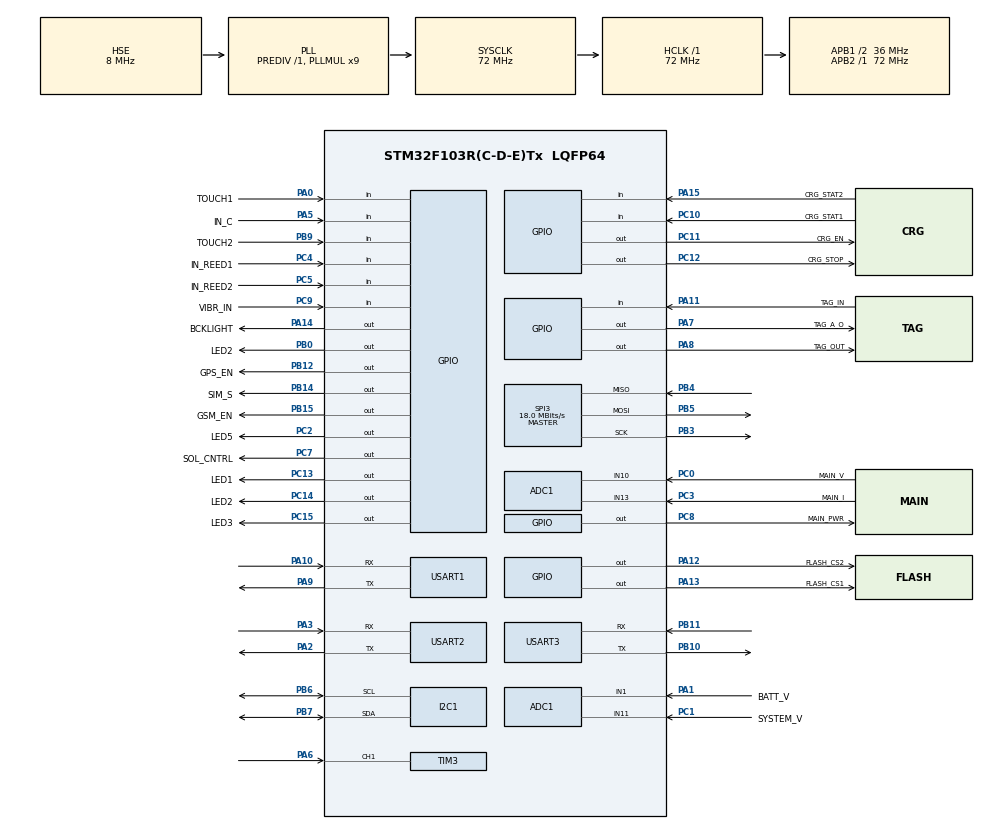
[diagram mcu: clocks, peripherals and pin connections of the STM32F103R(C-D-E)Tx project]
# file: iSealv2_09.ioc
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ADC1.Channel-12\#ChannelRegularConversion=ADC_CHANNEL_13
ADC1.Channel-13\#ChannelRegularConversion=ADC_CHANNEL_1
ADC1.Channel-14\#ChannelRegularConversion=ADC_CHANNEL_10
ADC1.Channel-15\#ChannelRegularConversion=ADC_CHANNEL_11
ADC1.ContinuousConvMode=DISABLE
ADC1.NbrOfConversion=4
ADC1.NbrOfConversionFlag=1
ADC1.Rank-12\#ChannelRegularConversion=1
ADC1.Rank-13\#ChannelRegularConversion=2
ADC1.Rank-14\#ChannelRegularConversion=3
ADC1.Rank-15\#ChannelRegularConversion=4
ADC1.SamplingTime-12\#ChannelRegularConversion=ADC_SAMPLETIME_1CYCLE_5
ADC1.SamplingTime-13\#ChannelRegularConversion=ADC_SAMPLETIME_1CYCLE_5
ADC1.SamplingTime-14\#ChannelRegularConversion=ADC_SAMPLETIME_1CYCLE_5
ADC1.SamplingTime-15\#ChannelRegularConversion=ADC_SAMPLETIME_1CYCLE_5
ADC1.master=1
Dma.ADC1.0.Direction=DMA_PERIPH_TO_MEMORY
Dma.ADC1.0.Instance=DMA1_Channel1
Dma.ADC1.0.MemDataAlignment=DMA_MDATAALIGN_WORD
Dma.ADC1.0.MemInc=DMA_MINC_ENABLE
Dma.ADC1.0.Mode=DMA_NORMAL
Dma.ADC1.0.PeriphDataAlignment=DMA_PDATAALIGN_WORD
Dma.ADC1.0.PeriphInc=DMA_PINC_DISABLE
Dma.ADC1.0.Priority=DMA_PRIORITY_LOW
Dma.Request0=ADC1
FREERTOS.Tasks01=defaultTask,0,128,StartDefaultTask,Default,NULL,Dynamic,NULL,NULL
FREERTOS.Timers01=myTimer01,Callback01,osTimerPeriodic,Default,NULL,Dynamic,NULL
FREERTOS.configTICK_RATE_HZ=1000
FREERTOS.configUSE_TIMERS=1
Mcu.Family=STM32F1
Mcu.Name=STM32F103R(C-D-E)Tx
Mcu.Package=LQFP64
NVIC.DMA1_Channel1_IRQn=true\:5\:0\:false\:false\:true\:true\:false\:true
NVIC.PriorityGroup=NVIC_PRIORITYGROUP_4
NVIC.TIM1_CC_IRQn=true\:5\:0\:false\:false\:true\:true\:true\:true
NVIC.TIM1_UP_IRQn=true\:5\:0\:false\:false\:true\:true\:true\:true
NVIC.TIM2_IRQn=true\:0\:0\:false\:false\:true\:false\:false\:true
NVIC.TIM3_IRQn=true\:5\:0\:false\:false\:true\:true\:true\:true
NVIC.TimeBase=TIM2_IRQn
NVIC.TimeBaseIP=TIM2
NVIC.USART1_IRQn=true\:5\:0\:false\:false\:true\:true\:true\:true
NVIC.USART2_IRQn=true\:5\:0\:false\:false\:true\:true\:true\:true
NVIC.USART3_IRQn=true\:5\:0\:false\:false\:true\:true\:true\:true
PA0-WKUP.GPIO_Label=TOUCH1
PA0-WKUP.Signal=GPIO_Input
PA1.GPIO_Label=BATT_V
PA1.Signal=ADCx_IN1
PA10.GPIO_PuPd=GPIO_PULLUP
PA10.Mode=Asynchronous
PA10.Signal=USART1_RX
PA11.GPIO_Label=TAG_IN
PA11.Signal=GPIO_Input
PA12.GPIO_Label=FLASH_CS2
PA12.Signal=GPIO_Output
PA13.GPIO_Label=FLASH_CS1
PA13.Signal=GPIO_Output
PA14.GPIO_Label=BCKLIGHT
PA14.Signal=GPIO_Output
PA15.GPIO_Label=CRG_STAT2
PA15.Signal=GPIO_Input
PA2.Mode=Asynchronous
PA2.Signal=USART2_TX
PA3.Mode=Asynchronous
PA3.Signal=USART2_RX
PA5.GPIO_Label=IN_C
PA5.Signal=GPIO_Input
PA6.Signal=S_TIM3_CH1
PA7.GPIO_Label=TAG_A_O
PA7.Signal=GPIO_Output
PA8.GPIO_Label=TAG_OUT
PA8.Signal=GPIO_Output
PA9.Mode=Asynchronous
PA9.Signal=USART1_TX
PB0.GPIO_Label=LED2
PB0.Signal=GPIO_Output
PB10.Mode=Asynchronous
PB10.Signal=USART3_TX
PB11.Mode=Asynchronous
PB11.Signal=USART3_RX
PB12.GPIO_Label=GPS_EN
PB12.Signal=GPIO_Output
PB14.GPIO_Label=SIM_S
PB14.Signal=GPIO_Output
PB15.GPIO_Label=GSM_EN
PB15.Signal=GPIO_Output
PB3.Mode=Full_Duplex_Master
PB3.Signal=SPI3_SCK
PB4.Mode=Full_Duplex_Master
PB4.Signal=SPI3_MISO
PB5.Mode=Full_Duplex_Master
PB5.Signal=SPI3_MOSI
PB6.GPIO_Pu=GPIO_PULLUP
PB6.Mode=I2C
PB6.Signal=I2C1_SCL
PB7.GPIO_Pu=GPIO_PULLUP
PB7.Mode=I2C
PB7.Signal=I2C1_SDA
PB9.GPIO_Label=TOUCH2
PB9.Signal=GPIO_Input
PC0.GPIO_Label=MAIN_V
PC0.Signal=ADCx_IN10
PC1.GPIO_Label=SYSTEM_V
PC1.Signal=ADCx_IN11
PC10.GPIO_Label=CRG_STAT1
PC10.Signal=GPIO_Input
PC11.GPIO_Label=CRG_EN
PC11.Signal=GPIO_Output
PC12.GPIO_Label=CRG_STOP
PC12.Signal=GPIO_Output
PC13-TAMPER-RTC.GPIO_Label=LED1
PC13-TAMPER-RTC.Signal=GPIO_Output
PC14-OSC32_IN.GPIO_Label=LED2
PC14-OSC32_IN.Signal=GPIO_Output
PC15-OSC32_OUT.GPIO_Label=LED3
PC15-OSC32_OUT.Signal=GPIO_Output
PC2.GPIO_Label=LED5
PC2.Signal=GPIO_Output
PC3.GPIO_Label=MAIN_I
PC3.Signal=ADCx_IN13
PC4.GPIO_Label=IN_REED1
PC4.Signal=GPIO_Input
PC5.GPIO_Label=IN_REED2
PC5.Signal=GPIO_Input
PC7.GPIO_Label=SOL_CNTRL
PC7.Signal=GPIO_Output
PC8.GPIO_Label=MAIN_PWR
PC8.Signal=GPIO_Output
PC9.GPIO_Label=VIBR_IN
PC9.Signal=GPIO_Input
PD0-OSC_IN.Mode=HSE-External-Oscillator
PD0-OSC_IN.Signal=RCC_OSC_IN
PD1-OSC_OUT.Mode=HSE-External-Oscillator
PD1-OSC_OUT.Signal=RCC_OSC_OUT
ProjectManager.HeapSize=0x200
ProjectManager.StackSize=0x400
ProjectManager.TargetToolchain=STM32CubeIDE
RCC.ADCPresc=RCC_ADCPCLK2_DIV6
RCC.AHBFreq_Value=72000000
RCC.APB1CLKDivider=RCC_HCLK_DIV2
RCC.APB1Freq_Value=36000000
RCC.APB1TimFreq_Value=72000000
RCC.APB2Freq_Value=72000000
RCC.APB2TimFreq_Value=72000000
RCC.HCLKFreq_Value=72000000
RCC.PLLMUL=RCC_PLL_MUL9
RCC.PLLSourceVirtual=RCC_PLLSOURCE_HSE
RCC.SYSCLKFreq_VALUE=72000000
RCC.SYSCLKSource=RCC_SYSCLKSOURCE_PLLCLK
RCC.USBFreq_Value=72000000
SH.ADCx_IN1.0=ADC1_IN1,IN1
SH.ADCx_IN10.0=ADC1_IN10,IN10
SH.ADCx_IN11.0=ADC1_IN11,IN11
SH.ADCx_IN13.0=ADC1_IN13,IN13
SH.S_TIM3_CH1.0=TIM3_CH1,Input_Capture1_from_TI1
SPI3.BaudRatePrescaler=SPI_BAUDRATEPRESCALER_2
SPI3.CalculateBaudRate=18.0 MBits/s
SPI3.Direction=SPI_DIRECTION_2LINES
SPI3.Mode=SPI_MODE_MASTER
SPI3.VirtualType=VM_MASTER
TIM1.AutoReloadPreload=TIM_AUTORELOAD_PRELOAD_ENABLE
TIM1.Period=200
TIM1.TIM_MasterOutputTrigger=TIM_TRGO_ENABLE
TIM3.Channel-Input_Capture1_from_TI1=TIM_CHANNEL_1
TIM3.ICFilter_CH1=0
TIM3.ICPrescaler-Input_Capture1_from_TI1=TIM_ICPSC_DIV1
TIM3.Period=65535
USART1.VirtualMode=VM_ASYNC
USART2.VirtualMode=VM_ASYNC
USART3.VirtualMode=VM_ASYNC
VP_FREERTOS_VS_CMSIS_V1.Mode=CMSIS_V1
VP_SYS_VS_ND.Mode=No_Debug
VP_SYS_VS_tim2.Mode=TIM2
VP_TIM1_VS_ClockSourceINT.Mode=Internal
VP_TIM3_VS_ClockSourceINT.Mode=Internal
board=custom

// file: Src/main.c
/* USER CODE BEGIN Header */
/**
  ******************************************************************************
  * @file           : main.c
  * @brief          : Main program body
  ******************************************************************************
  * @attention
  *
  * <h2><center>&copy; Copyright (c) 2022 STMicroelectronics.
  * All rights reserved.</center></h2>
  *
  * This software component is licensed by ST under Ultimate Liberty license
  * SLA0044, the "License"; You may not use this file except in compliance with
  * the License. You may obtain a copy of the License at:
  *                             www.st.com/SLA0044
  *
  ******************************************************************************
  */
/* USER CODE END Header */
#include "main.h"
#include "cmsis_os.h"

/* USER CODE BEGIN Includes */
#include "UART.h"
#include "LCD.h"
#include "myString.h"
#include "Wifi.h"
/* USER CODE END Includes */

ADC_HandleTypeDef hadc1;
DMA_HandleTypeDef hdma_adc1;

I2C_HandleTypeDef hi2c1;

SPI_HandleTypeDef hspi3;

TIM_HandleTypeDef htim1;
TIM_HandleTypeDef htim3;

UART_HandleTypeDef huart1;
UART_HandleTypeDef huart2;
UART_HandleTypeDef huart3;

osThreadId defaultTaskHandle;
osTimerId myTimer01Handle;
/* USER CODE BEGIN PV */
/* Private variables ---------------------------------------------------------*/
uint16_t timer;
uint16_t timerMult;
uint8_t timerStr[20];
uint8_t touch1;
uint16_t rTimer;

#define IDLE   0
#define DONE   1
#define F_CLK  72000000UL

volatile uint8_t gu8_State = IDLE;
volatile uint8_t gu8_MSG[35] = {'\0'};
volatile uint32_t gu32_T1 = 0;
volatile uint32_t gu32_T2 = 0;
volatile uint32_t gu32_Ticks = 0;
volatile uint16_t gu16_TIM2_OVC = 0;
volatile uint32_t gu32_Freq = 0;

/* USER CODE END PV */

void SystemClock_Config(void);
static void MX_GPIO_Init(void);
static void MX_DMA_Init(void);
static void MX_USART1_UART_Init(void);
static void MX_USART2_UART_Init(void);
static void MX_USART3_UART_Init(void);
static void MX_ADC1_Init(void);
static void MX_I2C1_Init(void);
static void MX_SPI3_Init(void);
static void MX_TIM1_Init(void);
static void MX_TIM3_Init(void);
void StartDefaultTask(void const * argument);
void Callback01(void const * argument);

/* USER CODE BEGIN PFP */
/* Private function prototypes -----------------------------------------------*/

/* USER CODE END PFP */

/* USER CODE BEGIN 0 */
void HAL_TIM_IC_CaptureCallback(TIM_HandleTypeDef* htim)
{

	if(gu8_State == IDLE)
	{

		gu32_T1 = TIM3->CCR1;
		gu16_TIM2_OVC = 0;
		gu8_State = DONE;
	}
	else if(gu8_State == DONE)
	{
		gu32_T2 = TIM3->CCR1;
		gu32_Ticks = (gu32_T2 + (gu16_TIM2_OVC * 65536)) - gu32_T1;
		gu32_Freq = (uint32_t)(F_CLK/gu32_Ticks);

		if(gu32_Freq != 0)
		{
			HAL_GPIO_TogglePin(LED1_GPIO_Port, LED1_Pin);
			sprintf(gu8_MSG, "Freq = %lu Hz\n\r", gu32_Freq);
		  //HAL_UART_Transmit(&huart1, gu8_MSG, sizeof(gu8_MSG), 100);
		  //LineSelect(0xC0);
		  //LCD_Print((char*)gu8_MSG);
		}
		gu8_State = IDLE;
	}
}
/*void HAL_TIM_PeriodElapsedCallback(TIM_HandleTypeDef* htim)
{
	gu16_TIM2_OVC++;
}*/

/* USER CODE END 0 */

int main(void)
{

  /* MCU Configuration--------------------------------------------------------*/

  /* Reset of all peripherals, Initializes the Flash interface and the Systick. */
  HAL_Init();

  /* Configure the system clock */
  SystemClock_Config();

  /* Initialize all configured peripherals */
  MX_GPIO_Init();
  MX_DMA_Init();
  MX_USART1_UART_Init();
  MX_USART2_UART_Init();
  MX_USART3_UART_Init();
  MX_ADC1_Init();
  MX_I2C1_Init();
  MX_SPI3_Init();
  MX_TIM1_Init();
  MX_TIM3_Init();
  /* USER CODE BEGIN 2 */
  //GSM_Init();

  LCD_Init();
  HAL_GPIO_WritePin(MAIN_PWR_GPIO_Port, MAIN_PWR_Pin, GPIO_PIN_SET);
  //HAL_GPIO_WritePin(GPS_EN_GPIO_Port, GPS_EN_Pin, GPIO_PIN_SET);
  HAL_GPIO_WritePin(SOL_CNTRL_GPIO_Port, SOL_CNTRL_Pin, GPIO_PIN_SET);
  LCD_Init();
  HAL_TIM_Base_MspInit(&htim1);
  HAL_TIM_Base_Start_IT(&htim1);
  HAL_TIM_Base_Start_IT(&htim3);
  //HAL_TIM_IC_Init(&htim3);
  HAL_TIM_IC_Start_IT (&htim3, TIM_CHANNEL_1);
  HAL_GPIO_TogglePin(LED5_GPIO_Port, LED5_Pin);
  Wifi_Init();
  /* USER CODE END 2 */

  /* Create the timer(s) */
  /* definition and creation of myTimer01 */
  osTimerDef(myTimer01, Callback01);
  myTimer01Handle = osTimerCreate(osTimer(myTimer01), osTimerPeriodic, NULL);

  /* Create the thread(s) */
  /* definition and creation of defaultTask */
  osThreadDef(defaultTask, StartDefaultTask, osPriorityNormal, 0, 128);
  defaultTaskHandle = osThreadCreate(osThread(defaultTask), NULL);

  /* Start scheduler */
  osKernelStart();

  /* We should never get here as control is now taken by the scheduler */
  /* Infinite loop */
  while (1)
  {

    /* USER CODE BEGIN 3 */
	  /*if (timer >= 30){
		  timer = 0;
		  HAL_GPIO_TogglePin(LED1_GPIO_Port, LED1_Pin);
	  }*/

  }
  /* USER CODE END 3 */
}

void SystemClock_Config(void)
{
  RCC_OscInitTypeDef RCC_OscInitStruct = {0};
  RCC_ClkInitTypeDef RCC_ClkInitStruct = {0};
  RCC_PeriphCLKInitTypeDef PeriphClkInit = {0};

  /** Initializes the RCC Oscillators according to the specified parameters
  * in the RCC_OscInitTypeDef structure.
  */
  RCC_OscInitStruct.OscillatorType = RCC_OSCILLATORTYPE_HSE;
  RCC_OscInitStruct.HSEState = RCC_HSE_ON;
  RCC_OscInitStruct.HSEPredivValue = RCC_HSE_PREDIV_DIV1;
  RCC_OscInitStruct.HSIState = RCC_HSI_ON;
  RCC_OscInitStruct.PLL.PLLState = RCC_PLL_ON;
  RCC_OscInitStruct.PLL.PLLSource = RCC_PLLSOURCE_HSE;
  RCC_OscInitStruct.PLL.PLLMUL = RCC_PLL_MUL9;
  if (HAL_RCC_OscConfig(&RCC_OscInitStruct) != HAL_OK)
  {
    Error_Handler();
  }
  /** Initializes the CPU, AHB and APB buses clocks
  */
  RCC_ClkInitStruct.ClockType = RCC_CLOCKTYPE_HCLK|RCC_CLOCKTYPE_SYSCLK
                              |RCC_CLOCKTYPE_PCLK1|RCC_CLOCKTYPE_PCLK2;
  RCC_ClkInitStruct.SYSCLKSource = RCC_SYSCLKSOURCE_PLLCLK;
  RCC_ClkInitStruct.AHBCLKDivider = RCC_SYSCLK_DIV1;
  RCC_ClkInitStruct.APB1CLKDivider = RCC_HCLK_DIV2;
  RCC_ClkInitStruct.APB2CLKDivider = RCC_HCLK_DIV1;

  if (HAL_RCC_ClockConfig(&RCC_ClkInitStruct, FLASH_LATENCY_2) != HAL_OK)
  {
    Error_Handler();
  }
  PeriphClkInit.PeriphClockSelection = RCC_PERIPHCLK_ADC;
  PeriphClkInit.AdcClockSelection = RCC_ADCPCLK2_DIV6;
  if (HAL_RCCEx_PeriphCLKConfig(&PeriphClkInit) != HAL_OK)
  {
    Error_Handler();
  }
}

static void MX_ADC1_Init(void)
{

  ADC_ChannelConfTypeDef sConfig = {0};

  /** Common config
  */
  hadc1.Instance = ADC1;
  hadc1.Init.ScanConvMode = ADC_SCAN_ENABLE;
  hadc1.Init.ContinuousConvMode = DISABLE;
  hadc1.Init.DiscontinuousConvMode = DISABLE;
  hadc1.Init.ExternalTrigConv = ADC_SOFTWARE_START;
  hadc1.Init.DataAlign = ADC_DATAALIGN_RIGHT;
  hadc1.Init.NbrOfConversion = 4;
  if (HAL_ADC_Init(&hadc1) != HAL_OK)
  {
    Error_Handler();
  }
  /** Configure Regular Channel
  */
  sConfig.Channel = ADC_CHANNEL_13;
  sConfig.Rank = ADC_REGULAR_RANK_1;
  sConfig.SamplingTime = ADC_SAMPLETIME_1CYCLE_5;
  if (HAL_ADC_ConfigChannel(&hadc1, &sConfig) != HAL_OK)
  {
    Error_Handler();
  }
  /** Configure Regular Channel
  */
  sConfig.Channel = ADC_CHANNEL_1;
  sConfig.Rank = ADC_REGULAR_RANK_2;
  if (HAL_ADC_ConfigChannel(&hadc1, &sConfig) != HAL_OK)
  {
    Error_Handler();
  }
  /** Configure Regular Channel
  */
  sConfig.Channel = ADC_CHANNEL_10;
  sConfig.Rank = ADC_REGULAR_RANK_3;
  if (HAL_ADC_ConfigChannel(&hadc1, &sConfig) != HAL_OK)
  {
    Error_Handler();
  }
  /** Configure Regular Channel
  */
  sConfig.Channel = ADC_CHANNEL_11;
  sConfig.Rank = ADC_REGULAR_RANK_4;
  if (HAL_ADC_ConfigChannel(&hadc1, &sConfig) != HAL_OK)
  {
    Error_Handler();
  }

}

static void MX_I2C1_Init(void)
{

  hi2c1.Instance = I2C1;
  hi2c1.Init.ClockSpeed = 100000;
  hi2c1.Init.DutyCycle = I2C_DUTYCYCLE_2;
  hi2c1.Init.OwnAddress1 = 0;
  hi2c1.Init.AddressingMode = I2C_ADDRESSINGMODE_7BIT;
  hi2c1.Init.DualAddressMode = I2C_DUALADDRESS_DISABLE;
  hi2c1.Init.OwnAddress2 = 0;
  hi2c1.Init.GeneralCallMode = I2C_GENERALCALL_DISABLE;
  hi2c1.Init.NoStretchMode = I2C_NOSTRETCH_DISABLE;
  if (HAL_I2C_Init(&hi2c1) != HAL_OK)
  {
    Error_Handler();
  }

}

static void MX_SPI3_Init(void)
{

  /* SPI3 parameter configuration*/
  hspi3.Instance = SPI3;
  hspi3.Init.Mode = SPI_MODE_MASTER;
  hspi3.Init.Direction = SPI_DIRECTION_2LINES;
  hspi3.Init.DataSize = SPI_DATASIZE_8BIT;
  hspi3.Init.CLKPolarity = SPI_POLARITY_LOW;
  hspi3.Init.CLKPhase = SPI_PHASE_1EDGE;
  hspi3.Init.NSS = SPI_NSS_SOFT;
  hspi3.Init.BaudRatePrescaler = SPI_BAUDRATEPRESCALER_2;
  hspi3.Init.FirstBit = SPI_FIRSTBIT_MSB;
  hspi3.Init.TIMode = SPI_TIMODE_DISABLE;
  hspi3.Init.CRCCalculation = SPI_CRCCALCULATION_DISABLE;
  hspi3.Init.CRCPolynomial = 10;
  if (HAL_SPI_Init(&hspi3) != HAL_OK)
  {
    Error_Handler();
  }

}

static void MX_TIM1_Init(void)
{

  TIM_ClockConfigTypeDef sClockSourceConfig = {0};
  TIM_MasterConfigTypeDef sMasterConfig = {0};

  htim1.Instance = TIM1;
  htim1.Init.Prescaler = 0;
  htim1.Init.CounterMode = TIM_COUNTERMODE_UP;
  htim1.Init.Period = 200;
  htim1.Init.ClockDivision = TIM_CLOCKDIVISION_DIV1;
  htim1.Init.RepetitionCounter = 0;
  htim1.Init.AutoReloadPreload = TIM_AUTORELOAD_PRELOAD_ENABLE;
  if (HAL_TIM_Base_Init(&htim1) != HAL_OK)
  {
    Error_Handler();
  }
  sClockSourceConfig.ClockSource = TIM_CLOCKSOURCE_INTERNAL;
  if (HAL_TIM_ConfigClockSource(&htim1, &sClockSourceConfig) != HAL_OK)
  {
    Error_Handler();
  }
  sMasterConfig.MasterOutputTrigger = TIM_TRGO_ENABLE;
  sMasterConfig.MasterSlaveMode = TIM_MASTERSLAVEMODE_DISABLE;
  if (HAL_TIMEx_MasterConfigSynchronization(&htim1, &sMasterConfig) != HAL_OK)
  {
    Error_Handler();
  }

}

static void MX_TIM3_Init(void)
{

  TIM_ClockConfigTypeDef sClockSourceConfig = {0};
  TIM_MasterConfigTypeDef sMasterConfig = {0};
  TIM_IC_InitTypeDef sConfigIC = {0};

  htim3.Instance = TIM3;
  htim3.Init.Prescaler = 0;
  htim3.Init.CounterMode = TIM_COUNTERMODE_UP;
  htim3.Init.Period = 65535;
  htim3.Init.ClockDivision = TIM_CLOCKDIVISION_DIV1;
  htim3.Init.AutoReloadPreload = TIM_AUTORELOAD_PRELOAD_DISABLE;
  if (HAL_TIM_Base_Init(&htim3) != HAL_OK)
  {
    Error_Handler();
  }
  sClockSourceConfig.ClockSource = TIM_CLOCKSOURCE_INTERNAL;
  if (HAL_TIM_ConfigClockSource(&htim3, &sClockSourceConfig) != HAL_OK)
  {
    Error_Handler();
  }
  if (HAL_TIM_IC_Init(&htim3) != HAL_OK)
  {
    Error_Handler();
  }
  sMasterConfig.MasterOutputTrigger = TIM_TRGO_RESET;
  sMasterConfig.MasterSlaveMode = TIM_MASTERSLAVEMODE_DISABLE;
  if (HAL_TIMEx_MasterConfigSynchronization(&htim3, &sMasterConfig) != HAL_OK)
  {
    Error_Handler();
  }
  sConfigIC.ICPolarity = TIM_INPUTCHANNELPOLARITY_RISING;
  sConfigIC.ICSelection = TIM_ICSELECTION_DIRECTTI;
  sConfigIC.ICPrescaler = TIM_ICPSC_DIV1;
  sConfigIC.ICFilter = 0;
  if (HAL_TIM_IC_ConfigChannel(&htim3, &sConfigIC, TIM_CHANNEL_1) != HAL_OK)
  {
    Error_Handler();
  }

}

static void MX_USART1_UART_Init(void)
{

  huart1.Instance = USART1;
  huart1.Init.BaudRate = 115200;
  huart1.Init.WordLength = UART_WORDLENGTH_8B;
  huart1.Init.StopBits = UART_STOPBITS_1;
  huart1.Init.Parity = UART_PARITY_NONE;
  huart1.Init.Mode = UART_MODE_TX_RX;
  huart1.Init.HwFlowCtl = UART_HWCONTROL_NONE;
  huart1.Init.OverSampling = UART_OVERSAMPLING_16;
  if (HAL_UART_Init(&huart1) != HAL_OK)
  {
    Error_Handler();
  }

}

static void MX_USART2_UART_Init(void)
{

  huart2.Instance = USART2;
  huart2.Init.BaudRate = 115200;
  huart2.Init.WordLength = UART_WORDLENGTH_8B;
  huart2.Init.StopBits = UART_STOPBITS_1;
  huart2.Init.Parity = UART_PARITY_NONE;
  huart2.Init.Mode = UART_MODE_TX_RX;
  huart2.Init.HwFlowCtl = UART_HWCONTROL_NONE;
  huart2.Init.OverSampling = UART_OVERSAMPLING_16;
  if (HAL_UART_Init(&huart2) != HAL_OK)
  {
    Error_Handler();
  }

}

static void MX_USART3_UART_Init(void)
{

  huart3.Instance = USART3;
  huart3.Init.BaudRate = 115200;
  huart3.Init.WordLength = UART_WORDLENGTH_8B;
  huart3.Init.StopBits = UART_STOPBITS_1;
  huart3.Init.Parity = UART_PARITY_NONE;
  huart3.Init.Mode = UART_MODE_TX_RX;
  huart3.Init.HwFlowCtl = UART_HWCONTROL_NONE;
  huart3.Init.OverSampling = UART_OVERSAMPLING_16;
  if (HAL_UART_Init(&huart3) != HAL_OK)
  {
    Error_Handler();
  }

}

static void MX_DMA_Init(void)
{

  /* DMA controller clock enable */
  __HAL_RCC_DMA1_CLK_ENABLE();

  /* DMA interrupt init */
  /* DMA1_Channel1_IRQn interrupt configuration */
  HAL_NVIC_SetPriority(DMA1_Channel1_IRQn, 5, 0);
  HAL_NVIC_EnableIRQ(DMA1_Channel1_IRQn);

}

static void MX_GPIO_Init(void)
{
  GPIO_InitTypeDef GPIO_InitStruct = {0};

  /* GPIO Ports Clock Enable */
  __HAL_RCC_GPIOC_CLK_ENABLE();
  __HAL_RCC_GPIOD_CLK_ENABLE();
  __HAL_RCC_GPIOA_CLK_ENABLE();
  __HAL_RCC_GPIOB_CLK_ENABLE();

  /*Configure GPIO pin Output Level */
  HAL_GPIO_WritePin(GPIOC, LED1_Pin|LED2_Pin|LED3_Pin|LED5_Pin
                          |SOL_CNTRL_Pin|MAIN_PWR_Pin|CRG_EN_Pin|CRG_STOP_Pin, GPIO_PIN_RESET);

  /*Configure GPIO pin Output Level */
  HAL_GPIO_WritePin(GPIOA, TAG_A_O_Pin|TAG_OUT_Pin|FLASH_CS2_Pin|FLASH_CS1_Pin
                          |BCKLIGHT_Pin, GPIO_PIN_RESET);

  /*Configure GPIO pin Output Level */
  HAL_GPIO_WritePin(GPIOB, LED2B0_Pin|GPS_EN_Pin|SIM_S_Pin|GSM_EN_Pin, GPIO_PIN_RESET);

  /*Configure GPIO pins : LED1_Pin LED2_Pin LED3_Pin LED5_Pin
                           SOL_CNTRL_Pin MAIN_PWR_Pin CRG_EN_Pin CRG_STOP_Pin */
  GPIO_InitStruct.Pin = LED1_Pin|LED2_Pin|LED3_Pin|LED5_Pin
                          |SOL_CNTRL_Pin|MAIN_PWR_Pin|CRG_EN_Pin|CRG_STOP_Pin;
  GPIO_InitStruct.Mode = GPIO_MODE_OUTPUT_PP;
  GPIO_InitStruct.Pull = GPIO_NOPULL;
  GPIO_InitStruct.Speed = GPIO_SPEED_FREQ_LOW;
  HAL_GPIO_Init(GPIOC, &GPIO_InitStruct);

  /*Configure GPIO pins : TOUCH1_Pin IN_C_Pin TAG_IN_Pin CRG_STAT2_Pin */
  GPIO_InitStruct.Pin = TOUCH1_Pin|IN_C_Pin|TAG_IN_Pin|CRG_STAT2_Pin;
  GPIO_InitStruct.Mode = GPIO_MODE_INPUT;
  GPIO_InitStruct.Pull = GPIO_NOPULL;
  HAL_GPIO_Init(GPIOA, &GPIO_InitStruct);

  /*Configure GPIO pins : TAG_A_O_Pin TAG_OUT_Pin FLASH_CS2_Pin FLASH_CS1_Pin
                           BCKLIGHT_Pin */
  GPIO_InitStruct.Pin = TAG_A_O_Pin|TAG_OUT_Pin|FLASH_CS2_Pin|FLASH_CS1_Pin
                          |BCKLIGHT_Pin;
  GPIO_InitStruct.Mode = GPIO_MODE_OUTPUT_PP;
  GPIO_InitStruct.Pull = GPIO_NOPULL;
  GPIO_InitStruct.Speed = GPIO_SPEED_FREQ_LOW;
  HAL_GPIO_Init(GPIOA, &GPIO_InitStruct);

  /*Configure GPIO pins : IN_REED1_Pin IN_REED2_Pin VIBR_IN_Pin CRG_STAT1_Pin */
  GPIO_InitStruct.Pin = IN_REED1_Pin|IN_REED2_Pin|VIBR_IN_Pin|CRG_STAT1_Pin;
  GPIO_InitStruct.Mode = GPIO_MODE_INPUT;
  GPIO_InitStruct.Pull = GPIO_NOPULL;
  HAL_GPIO_Init(GPIOC, &GPIO_InitStruct);

  /*Configure GPIO pins : LED2B0_Pin GPS_EN_Pin SIM_S_Pin GSM_EN_Pin */
  GPIO_InitStruct.Pin = LED2B0_Pin|GPS_EN_Pin|SIM_S_Pin|GSM_EN_Pin;
  GPIO_InitStruct.Mode = GPIO_MODE_OUTPUT_PP;
  GPIO_InitStruct.Pull = GPIO_NOPULL;
  GPIO_InitStruct.Speed = GPIO_SPEED_FREQ_LOW;
  HAL_GPIO_Init(GPIOB, &GPIO_InitStruct);

  /*Configure GPIO pin : TOUCH2_Pin */
  GPIO_InitStruct.Pin = TOUCH2_Pin;
  GPIO_InitStruct.Mode = GPIO_MODE_INPUT;
  GPIO_InitStruct.Pull = GPIO_NOPULL;
  HAL_GPIO_Init(TOUCH2_GPIO_Port, &GPIO_InitStruct);

}

void StartDefaultTask(void const * argument)
{
  /* USER CODE BEGIN 5 */
  /* Infinite loop */
  for(;;)
  {
    osDelay(1);
    if (rTimer >= 1000){
    	rTimer = 0;

		//LCD_Service();
    	//HAL_SPI_Transmit(&hspi3, "test1", 5, 20);
		ClearScreenF();
		LineSelect(0x80);
		myLongStr(timer,timerStr,10,10);
		strcat(timerStr," New");
		LCD_Print((char*)timerStr);
		/*LineSelect(0xC0);
		myLongStr(timerMult,timerStr,10,10);
		LCD_Print((char*)timerStr);*/
		LineSelect(0xC0);
		sprintf(gu8_MSG, "Freq = %lu Hz\n\r", gu32_Freq);
		LCD_Print((char*)gu8_MSG);
		//GSM_Send(gu8_MSG);
		timer = 0;
		timerMult = 0;
		uint16_t timr;
		timr = htim1.Instance->CNT;
		touch1 = HAL_GPIO_ReadPin(TOUCH2_GPIO_Port, TOUCH2_Pin);
		/*if (touch1 == GPIO_PIN_SET){
			HAL_GPIO_TogglePin(LED3_GPIO_Port, LED3_Pin);
			LCD_Print("  1  ");
		}*/
		Wifi_Service();
		ADC_Service();
		GSM_Send("running\r\n");
    }
    rTimer++;

    //HAL_GPIO_TogglePin(LED2B0_GPIO_Port, LED2B0_Pin);
  }
  /* USER CODE END 5 */
}

/* Callback01 function */
void Callback01(void const * argument)
{
}

void HAL_TIM_PeriodElapsedCallback(TIM_HandleTypeDef *htim)
{
  /* USER CODE BEGIN Callback 0 */
	HAL_GPIO_TogglePin(LED5_GPIO_Port, LED5_Pin);
  /* USER CODE END Callback 0 */
  if (htim->Instance == TIM2) {
    HAL_IncTick();
  }
  /* USER CODE BEGIN Callback 1 */
  if (htim->Instance == TIM3) gu16_TIM2_OVC++;
  /* USER CODE END Callback 1 */
}

void Error_Handler(void)
{
  while(1)
  {
  }
}

/************************ (C) COPYRIGHT STMicroelectronics *****END OF FILE****/

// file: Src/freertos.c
/* USER CODE BEGIN Header */
/**
  ******************************************************************************
  * File Name          : freertos.c
  * Description        : Code for freertos applications
  ******************************************************************************
  * @attention
  *
  * <h2><center>&copy; Copyright (c) 2022 STMicroelectronics.
  * All rights reserved.</center></h2>
  *
  * This software component is licensed by ST under Ultimate Liberty license
  * SLA0044, the "License"; You may not use this file except in compliance with
  * the License. You may obtain a copy of the License at:
  *                             www.st.com/SLA0044
  *
  ******************************************************************************
  */
/* USER CODE END Header */

#include "FreeRTOS.h"
#include "task.h"
#include "main.h"

/* GetIdleTaskMemory prototype (linked to static allocation support) */
void vApplicationGetIdleTaskMemory( StaticTask_t **ppxIdleTaskTCBBuffer, StackType_t **ppxIdleTaskStackBuffer, uint32_t *pulIdleTaskStackSize );

/* GetTimerTaskMemory prototype (linked to static allocation support) */
void vApplicationGetTimerTaskMemory( StaticTask_t **ppxTimerTaskTCBBuffer, StackType_t **ppxTimerTaskStackBuffer, uint32_t *pulTimerTaskStackSize );

/* USER CODE BEGIN GET_IDLE_TASK_MEMORY */
static StaticTask_t xIdleTaskTCBBuffer;
static StackType_t xIdleStack[configMINIMAL_STACK_SIZE];

void vApplicationGetIdleTaskMemory( StaticTask_t **ppxIdleTaskTCBBuffer, StackType_t **ppxIdleTaskStackBuffer, uint32_t *pulIdleTaskStackSize )
{
  *ppxIdleTaskTCBBuffer = &xIdleTaskTCBBuffer;
  *ppxIdleTaskStackBuffer = &xIdleStack[0];
  *pulIdleTaskStackSize = configMINIMAL_STACK_SIZE;
  /* place for user code */
}
/* USER CODE END GET_IDLE_TASK_MEMORY */

/* USER CODE BEGIN GET_TIMER_TASK_MEMORY */
static StaticTask_t xTimerTaskTCBBuffer;
static StackType_t xTimerStack[configTIMER_TASK_STACK_DEPTH];

void vApplicationGetTimerTaskMemory( StaticTask_t **ppxTimerTaskTCBBuffer, StackType_t **ppxTimerTaskStackBuffer, uint32_t *pulTimerTaskStackSize )
{
  *ppxTimerTaskTCBBuffer = &xTimerTaskTCBBuffer;
  *ppxTimerTaskStackBuffer = &xTimerStack[0];
  *pulTimerTaskStackSize = configTIMER_TASK_STACK_DEPTH;
  /* place for user code */
}
/* USER CODE END GET_TIMER_TASK_MEMORY */

/************************ (C) COPYRIGHT STMicroelectronics *****END OF FILE****/
